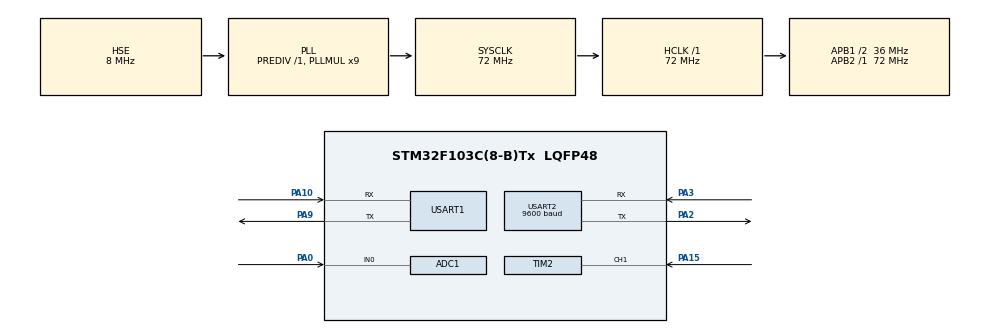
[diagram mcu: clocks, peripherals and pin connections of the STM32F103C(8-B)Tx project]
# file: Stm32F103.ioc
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ADC1.Channel-0\#ChannelRegularConversion=ADC_CHANNEL_0
ADC1.ExternalTrigConv=ADC_EXTERNALTRIGCONV_T3_TRGO
ADC1.NbrOfConversionFlag=1
ADC1.Rank-0\#ChannelRegularConversion=1
ADC1.SamplingTime-0\#ChannelRegularConversion=ADC_SAMPLETIME_28CYCLES_5
ADC1.master=1
Dma.ADC1.0.Direction=DMA_PERIPH_TO_MEMORY
Dma.ADC1.0.Instance=DMA1_Channel1
Dma.ADC1.0.MemDataAlignment=DMA_MDATAALIGN_HALFWORD
Dma.ADC1.0.MemInc=DMA_MINC_ENABLE
Dma.ADC1.0.Mode=DMA_CIRCULAR
Dma.ADC1.0.PeriphDataAlignment=DMA_PDATAALIGN_HALFWORD
Dma.ADC1.0.PeriphInc=DMA_PINC_DISABLE
Dma.ADC1.0.Priority=DMA_PRIORITY_LOW
Dma.Request0=ADC1
Mcu.Family=STM32F1
Mcu.Name=STM32F103C(8-B)Tx
Mcu.Package=LQFP48
NVIC.DMA1_Channel1_IRQn=true\:0\:0\:false\:false\:true\:false\:true
NVIC.PriorityGroup=NVIC_PRIORITYGROUP_4
NVIC.TIM2_IRQn=true\:0\:0\:false\:false\:true\:true\:true
PA0-WKUP.Signal=ADCx_IN0
PA10.Mode=Asynchronous
PA10.Signal=USART1_RX
PA15.Signal=S_TIM2_CH1_ETR
PA2.Mode=Asynchronous
PA2.Signal=USART2_TX
PA3.Mode=Asynchronous
PA3.Signal=USART2_RX
PA9.Mode=Asynchronous
PA9.Signal=USART1_TX
PD0-OSC_IN.Mode=HSE-External-Oscillator
PD0-OSC_IN.Signal=RCC_OSC_IN
PD1-OSC_OUT.Mode=HSE-External-Oscillator
PD1-OSC_OUT.Signal=RCC_OSC_OUT
ProjectManager.HeapSize=0x200
ProjectManager.StackSize=0x400
ProjectManager.TargetToolchain=MDK-ARM V5.32
RCC.ADCPresc=RCC_ADCPCLK2_DIV6
RCC.AHBFreq_Value=72000000
RCC.APB1CLKDivider=RCC_HCLK_DIV2
RCC.APB1Freq_Value=36000000
RCC.APB1TimFreq_Value=72000000
RCC.APB2Freq_Value=72000000
RCC.APB2TimFreq_Value=72000000
RCC.HCLKFreq_Value=72000000
RCC.PLLMUL=RCC_PLL_MUL9
RCC.PLLSourceVirtual=RCC_PLLSOURCE_HSE
RCC.SYSCLKFreq_VALUE=72000000
RCC.SYSCLKSource=RCC_SYSCLKSOURCE_PLLCLK
RCC.USBFreq_Value=72000000
SH.ADCx_IN0.0=ADC1_IN0,IN0
SH.S_TIM2_CH1_ETR.0=TIM2_CH1,TriggerSource_TI1FP1
SH.S_TIM2_CH1_ETR.1=TIM2_CH1,Input_Capture1_from_TI1
TIM2.AutoReloadPreload=TIM_AUTORELOAD_PRELOAD_ENABLE
TIM2.Channel-Input_Capture1_from_TI1=TIM_CHANNEL_1
TIM2.TIM_MasterOutputTrigger=TIM_TRGO_UPDATE
USART1.VirtualMode=VM_ASYNC
USART2.BaudRate=9600
USART2.VirtualMode=VM_ASYNC
VP_SYS_VS_ND.Mode=No_Debug
VP_TIM2_VS_ClockSourceINT.Mode=Internal
VP_TIM2_VS_ControllerModeReset.Mode=Reset Mode
VP_TIM3_VS_ClockSourceINT.Mode=Internal
board=custom

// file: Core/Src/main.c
/* USER CODE BEGIN Header */
/**
 ******************************************************************************
 * @file           : main.c
 * @brief          : Main program body
 ******************************************************************************
 * @attention
 *
 * <h2><center>&copy; Copyright (c) 2022 STMicroelectronics.
 * All rights reserved.</center></h2>
 *
 * This software component is licensed by ST under BSD 3-Clause license,
 * the "License"; You may not use this file except in compliance with the
 * License. You may obtain a copy of the License at:
 *                        opensource.org/licenses/BSD-3-Clause
 *
 ******************************************************************************
 */
/* USER CODE END Header */
#include "main.h"
#include "adc.h"
#include "dma.h"
#include "tim.h"
#include "usart.h"
#include "gpio.h"

/* USER CODE BEGIN Includes */
#include "bsp.h"
//#include "bll.h"
//#include "ui.h"

/* USER CODE END Includes */

/* USER CODE BEGIN PD */

//#define UART_SEND_ADC_DATA

/* USER CODE END PD */

void SystemClock_Config(void);

/* USER CODE BEGIN 0 */
/*******************************************
// 2021�? 电赛A�?
// Bilibili：m-RNA
// E-mail:m-RNA@qq.com
// 创建日期:2021/11/11
*******************************************/

#include "main.h"
#include "log.h"
#include "bsp.h"
#include "bll.h"
#include "config.h"

// Flow lock

/* USER CODE END 0 */

int main(void)
{

  /* MCU Configuration--------------------------------------------------------*/

  /* Reset of all peripherals, Initializes the Flash interface and the Systick. */
  HAL_Init();

  /* Configure the system clock */
  SystemClock_Config();

  /* Initialize all configured peripherals */
  MX_GPIO_Init();
  MX_DMA_Init();
  MX_ADC1_Init();
  MX_TIM2_Init();
  MX_TIM3_Init();
  MX_USART1_UART_Init();
  MX_USART2_UART_Init();
  /* USER CODE BEGIN 2 */

  vu8 i = 10;
  u32 Signal_Captured_Value;
  u16 Signal_ADC_Data[ADC_SAMPLING_NUM];
  float FFT_Output[ADC_SAMPLING_NUM];
  float NormalizedAm[4] = {0}; // 归一化幅值 基波-5次谐波
  float THD = 0.0f;
  u16 WaveformData[128] = {0};
  System_Init();
  log_debug("Init Completed!\r\n");

  while (--i)
  {
    Signal_F0_Measure(&Signal_Captured_Value);
    Signal_Fs_Adjust(Signal_Captured_Value);
    SignalSample_Start(Signal_ADC_Data);
    SignalSample_FFT_to_Am(Signal_ADC_Data, FFT_Output);
    NormalizedAm_And_CalculateTHD(FFT_Output, NormalizedAm, &THD);
    // OLEDInterface_Update_Norm_Am_And_THD(NormalizedAm, &THD);
    Transform_NormalizedAm_To_WaveformData(NormalizedAm, WaveformData);
    // OLEDInterface_Update_Waveform(WaveformData);
    Bluetooth_SendDate_To_Phone(NormalizedAm, THD, WaveformData);
  }

  /* USER CODE END 2 */

  /* Infinite loop */
  while (1)
  {

  }
}

void SystemClock_Config(void)
{
  RCC_OscInitTypeDef RCC_OscInitStruct = {0};
  RCC_ClkInitTypeDef RCC_ClkInitStruct = {0};
  RCC_PeriphCLKInitTypeDef PeriphClkInit = {0};

  /** Initializes the RCC Oscillators according to the specified parameters
   * in the RCC_OscInitTypeDef structure.
   */
  RCC_OscInitStruct.OscillatorType = RCC_OSCILLATORTYPE_HSE;
  RCC_OscInitStruct.HSEState = RCC_HSE_ON;
  RCC_OscInitStruct.HSEPredivValue = RCC_HSE_PREDIV_DIV1;
  RCC_OscInitStruct.HSIState = RCC_HSI_ON;
  RCC_OscInitStruct.PLL.PLLState = RCC_PLL_ON;
  RCC_OscInitStruct.PLL.PLLSource = RCC_PLLSOURCE_HSE;
  RCC_OscInitStruct.PLL.PLLMUL = RCC_PLL_MUL9;
  if (HAL_RCC_OscConfig(&RCC_OscInitStruct) != HAL_OK)
  {
    Error_Handler();
  }
  /** Initializes the CPU, AHB and APB buses clocks
   */
  RCC_ClkInitStruct.ClockType = RCC_CLOCKTYPE_HCLK | RCC_CLOCKTYPE_SYSCLK | RCC_CLOCKTYPE_PCLK1 | RCC_CLOCKTYPE_PCLK2;
  RCC_ClkInitStruct.SYSCLKSource = RCC_SYSCLKSOURCE_PLLCLK;
  RCC_ClkInitStruct.AHBCLKDivider = RCC_SYSCLK_DIV1;
  RCC_ClkInitStruct.APB1CLKDivider = RCC_HCLK_DIV2;
  RCC_ClkInitStruct.APB2CLKDivider = RCC_HCLK_DIV1;

  if (HAL_RCC_ClockConfig(&RCC_ClkInitStruct, FLASH_LATENCY_2) != HAL_OK)
  {
    Error_Handler();
  }
  PeriphClkInit.PeriphClockSelection = RCC_PERIPHCLK_ADC;
  PeriphClkInit.AdcClockSelection = RCC_ADCPCLK2_DIV6;
  if (HAL_RCCEx_PeriphCLKConfig(&PeriphClkInit) != HAL_OK)
  {
    Error_Handler();
  }
}

void Error_Handler(void)
{
  __disable_irq();
  while (1)
  {
  }
}

/************************ (C) COPYRIGHT STMicroelectronics *****END OF FILE****/
